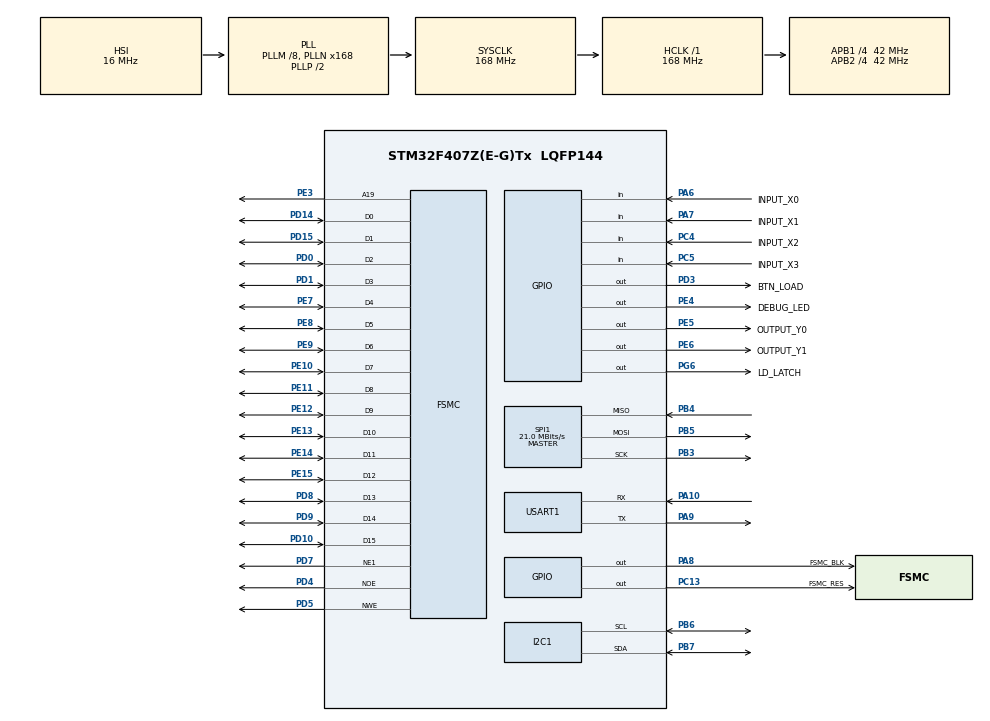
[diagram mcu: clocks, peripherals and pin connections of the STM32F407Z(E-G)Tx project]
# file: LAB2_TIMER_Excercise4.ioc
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FSMC.AddressSetupTime1=0xf
FSMC.BusTurnAroundDuration1=0
FSMC.DataSetupTime1=60
FSMC.ExtendedAddressSetupTime1=8
FSMC.ExtendedBusTurnAroundDuration1=0
FSMC.ExtendedDataSetupTime1=9
FSMC.ExtendedMode1=FSMC_EXTENDED_MODE_ENABLE
I2C1.I2C_Mode=I2C_Standard
Mcu.Family=STM32F4
Mcu.Name=STM32F407Z(E-G)Tx
Mcu.Package=LQFP144
NVIC.PriorityGroup=NVIC_PRIORITYGROUP_4
NVIC.TIM2_IRQn=true\:0\:0\:false\:false\:true\:true\:true
NVIC.USART1_IRQn=true\:0\:0\:false\:false\:true\:true\:true
PA10.Mode=Asynchronous
PA10.Signal=USART1_RX
PA13.Mode=Serial_Wire
PA13.Signal=SYS_JTMS-SWDIO
PA14.Mode=Serial_Wire
PA14.Signal=SYS_JTCK-SWCLK
PA6.GPIO_Label=INPUT_X0
PA6.Signal=GPIO_Input
PA7.GPIO_Label=INPUT_X1
PA7.Signal=GPIO_Input
PA8.GPIO_Label=FSMC_BLK
PA8.Signal=GPIO_Output
PA9.Mode=Asynchronous
PA9.Signal=USART1_TX
PB3.Mode=Full_Duplex_Master
PB3.Signal=SPI1_SCK
PB4.Mode=Full_Duplex_Master
PB4.Signal=SPI1_MISO
PB5.Mode=Full_Duplex_Master
PB5.Signal=SPI1_MOSI
PB6.Mode=I2C
PB6.Signal=I2C1_SCL
PB7.Mode=I2C
PB7.Signal=I2C1_SDA
PC13-ANTI_TAMP.GPIO_Label=FSMC_RES
PC13-ANTI_TAMP.Signal=GPIO_Output
PC4.GPIO_Label=INPUT_X2
PC4.Signal=GPIO_Input
PC5.GPIO_Label=INPUT_X3
PC5.Signal=GPIO_Input
PD0.Signal=FSMC_D2_DA2
PD1.Signal=FSMC_D3_DA3
PD10.Signal=FSMC_D15_DA15
PD14.Signal=FSMC_D0_DA0
PD15.Signal=FSMC_D1_DA1
PD3.GPIO_Label=BTN_LOAD
PD3.Signal=GPIO_Output
PD4.Signal=FSMC_NOE
PD5.Signal=FSMC_NWE
PD7.Mode=NorPsramChipSelect1_1
PD7.Signal=FSMC_NE1
PD8.Signal=FSMC_D13_DA13
PD9.Signal=FSMC_D14_DA14
PE10.Signal=FSMC_D7_DA7
PE11.Signal=FSMC_D8_DA8
PE12.Signal=FSMC_D9_DA9
PE13.Signal=FSMC_D10_DA10
PE14.Signal=FSMC_D11_DA11
PE15.Signal=FSMC_D12_DA12
PE3.Signal=FSMC_A19
PE4.GPIO_Label=DEBUG_LED
PE4.Signal=GPIO_Output
PE5.GPIO_Label=OUTPUT_Y0
PE5.Signal=GPIO_Output
PE6.GPIO_Label=OUTPUT_Y1
PE6.Signal=GPIO_Output
PE7.Signal=FSMC_D4_DA4
PE8.Signal=FSMC_D5_DA5
PE9.Signal=FSMC_D6_DA6
PG6.GPIO_Label=LD_LATCH
PG6.Signal=GPIO_Output
PH0-OSC_IN.Mode=HSE-External-Oscillator
PH0-OSC_IN.Signal=RCC_OSC_IN
PH1-OSC_OUT.Mode=HSE-External-Oscillator
PH1-OSC_OUT.Signal=RCC_OSC_OUT
ProjectManager.HeapSize=0x200
ProjectManager.StackSize=0x400
ProjectManager.TargetToolchain=STM32CubeIDE
RCC.48MHZClocksFreq_Value=84000000
RCC.AHBFreq_Value=168000000
RCC.APB1CLKDivider=RCC_HCLK_DIV4
RCC.APB1Freq_Value=42000000
RCC.APB1TimFreq_Value=84000000
RCC.APB2CLKDivider=RCC_HCLK_DIV4
RCC.APB2Freq_Value=42000000
RCC.APB2TimFreq_Value=84000000
RCC.CortexFreq_Value=168000000
RCC.HCLKFreq_Value=168000000
RCC.HSE_VALUE=8000000
RCC.HSI_VALUE=16000000
RCC.LSE_VALUE=32768
RCC.PLLM=8
RCC.PLLN=168
RCC.SYSCLKFreq_VALUE=168000000
RCC.SYSCLKSource=RCC_SYSCLKSOURCE_PLLCLK
RCC.VCOOutputFreq_Value=336000000
SH.FSMC_A19.0=FSMC_A19,A19_1
SH.FSMC_D0_DA0.0=FSMC_D0,16b-d1
SH.FSMC_D10_DA10.0=FSMC_D10,16b-d1
SH.FSMC_D11_DA11.0=FSMC_D11,16b-d1
SH.FSMC_D12_DA12.0=FSMC_D12,16b-d1
SH.FSMC_D13_DA13.0=FSMC_D13,16b-d1
SH.FSMC_D14_DA14.0=FSMC_D14,16b-d1
SH.FSMC_D15_DA15.0=FSMC_D15,16b-d1
SH.FSMC_D1_DA1.0=FSMC_D1,16b-d1
SH.FSMC_D2_DA2.0=FSMC_D2,16b-d1
SH.FSMC_D3_DA3.0=FSMC_D3,16b-d1
SH.FSMC_D4_DA4.0=FSMC_D4,16b-d1
SH.FSMC_D5_DA5.0=FSMC_D5,16b-d1
SH.FSMC_D6_DA6.0=FSMC_D6,16b-d1
SH.FSMC_D7_DA7.0=FSMC_D7,16b-d1
SH.FSMC_D8_DA8.0=FSMC_D8,16b-d1
SH.FSMC_D9_DA9.0=FSMC_D9,16b-d1
SH.FSMC_NOE.0=FSMC_NOE,Lcd1
SH.FSMC_NWE.0=FSMC_NWE,Lcd1
SPI1.BaudRatePrescaler=SPI_BAUDRATEPRESCALER_2
SPI1.CalculateBaudRate=21.0 MBits/s
SPI1.Direction=SPI_DIRECTION_2LINES
SPI1.Mode=SPI_MODE_MASTER
SPI1.VirtualType=VM_MASTER
TIM2.Period=100-1
TIM2.Prescaler=840-1
USART1.VirtualMode=VM_ASYNC
VP_TIM2_VS_ClockSourceINT.Mode=Internal
board=custom

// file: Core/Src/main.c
/* USER CODE BEGIN Header */
/**
  ******************************************************************************
  * @file           : main.c
  * @brief          : Main program body
  ******************************************************************************
  * @attention
  *
  * <h2><center>&copy; Copyright (c) 2024 STMicroelectronics.
  * All rights reserved.</center></h2>
  *
  * This software component is licensed by ST under BSD 3-Clause license,
  * the "License"; You may not use this file except in compliance with the
  * License. You may obtain a copy of the License at:
  *                        opensource.org/licenses/BSD-3-Clause
  *
  ******************************************************************************
  */
/* USER CODE END Header */
#include "main.h"
#include "i2c.h"
#include "spi.h"
#include "tim.h"
#include "usart.h"
#include "gpio.h"
#include "fsmc.h"

/* USER CODE BEGIN Includes */
#include "software_timer.h"
#include "led_7seg.h"
/* USER CODE END Includes */

void SystemClock_Config(void);
/* USER CODE BEGIN PFP */
void system_init();
void realTime();
/* USER CODE END PFP */

int main(void)
{

  /* MCU Configuration--------------------------------------------------------*/

  /* Reset of all peripherals, Initializes the Flash interface and the Systick. */
  HAL_Init();

  /* Configure the system clock */
  SystemClock_Config();

  /* Initialize all configured peripherals */
  MX_GPIO_Init();
  MX_TIM2_Init();
  MX_SPI1_Init();
  MX_FSMC_Init();
  MX_I2C1_Init();
  MX_USART1_UART_Init();
  /* USER CODE BEGIN 2 */
  system_init();
  led7_SetColon(1);
  /* USER CODE END 2 */

  /* Infinite loop */
  /* USER CODE BEGIN WHILE */
  while (1)
  {
	  while(!flag_timer2);
	  flag_timer2 = 0;
	  //Tasks
	  realTime();
    /* USER CODE END WHILE */

  }
}

void SystemClock_Config(void)
{
  RCC_OscInitTypeDef RCC_OscInitStruct = {0};
  RCC_ClkInitTypeDef RCC_ClkInitStruct = {0};

  /** Configure the main internal regulator output voltage
  */
  __HAL_RCC_PWR_CLK_ENABLE();
  __HAL_PWR_VOLTAGESCALING_CONFIG(PWR_REGULATOR_VOLTAGE_SCALE1);
  /** Initializes the RCC Oscillators according to the specified parameters
  * in the RCC_OscInitTypeDef structure.
  */
  RCC_OscInitStruct.OscillatorType = RCC_OSCILLATORTYPE_HSI;
  RCC_OscInitStruct.HSIState = RCC_HSI_ON;
  RCC_OscInitStruct.HSICalibrationValue = RCC_HSICALIBRATION_DEFAULT;
  RCC_OscInitStruct.PLL.PLLState = RCC_PLL_ON;
  RCC_OscInitStruct.PLL.PLLSource = RCC_PLLSOURCE_HSI;
  RCC_OscInitStruct.PLL.PLLM = 8;
  RCC_OscInitStruct.PLL.PLLN = 168;
  RCC_OscInitStruct.PLL.PLLP = RCC_PLLP_DIV2;
  RCC_OscInitStruct.PLL.PLLQ = 4;
  if (HAL_RCC_OscConfig(&RCC_OscInitStruct) != HAL_OK)
  {
    Error_Handler();
  }
  /** Initializes the CPU, AHB and APB buses clocks
  */
  RCC_ClkInitStruct.ClockType = RCC_CLOCKTYPE_HCLK|RCC_CLOCKTYPE_SYSCLK
                              |RCC_CLOCKTYPE_PCLK1|RCC_CLOCKTYPE_PCLK2;
  RCC_ClkInitStruct.SYSCLKSource = RCC_SYSCLKSOURCE_PLLCLK;
  RCC_ClkInitStruct.AHBCLKDivider = RCC_SYSCLK_DIV1;
  RCC_ClkInitStruct.APB1CLKDivider = RCC_HCLK_DIV4;
  RCC_ClkInitStruct.APB2CLKDivider = RCC_HCLK_DIV4;

  if (HAL_RCC_ClockConfig(&RCC_ClkInitStruct, FLASH_LATENCY_5) != HAL_OK)
  {
    Error_Handler();
  }
}

/* USER CODE BEGIN 4 */
void system_init(){
	  HAL_GPIO_WritePin(OUTPUT_Y0_GPIO_Port, OUTPUT_Y0_Pin, 0);
	  HAL_GPIO_WritePin(OUTPUT_Y1_GPIO_Port, OUTPUT_Y1_Pin, 0);
	  HAL_GPIO_WritePin(DEBUG_LED_GPIO_Port, DEBUG_LED_Pin, 0);
	  timer_init();
	  led7_init();

	  setTimer2(50);
}

int second = 0;
int minute = 59;
int hour = 23;
uint8_t count = 0;

void realTime() {
	count = (count + 1) % 20;
	if (count == 0) {
		second++;
		if (second == 60) {
			second = 0;
			minute++;
			if (minute == 60) {
				minute = 0;
				hour++;
				if (hour == 24) hour = 0;
			}
		}
	}
	led7_SetDigit(hour / 10, 0, 0);
	led7_SetDigit(hour % 10, 1, 0);
	led7_SetDigit(minute / 10, 2, 0);
	led7_SetDigit(minute % 10, 3, 0);

	if (count > 10) led7_SetColon(1);
	else led7_SetColon(0);
}
/* USER CODE END 4 */

void Error_Handler(void)
{
  __disable_irq();
  while (1)
  {
  }
}

/************************ (C) COPYRIGHT STMicroelectronics *****END OF FILE****/
